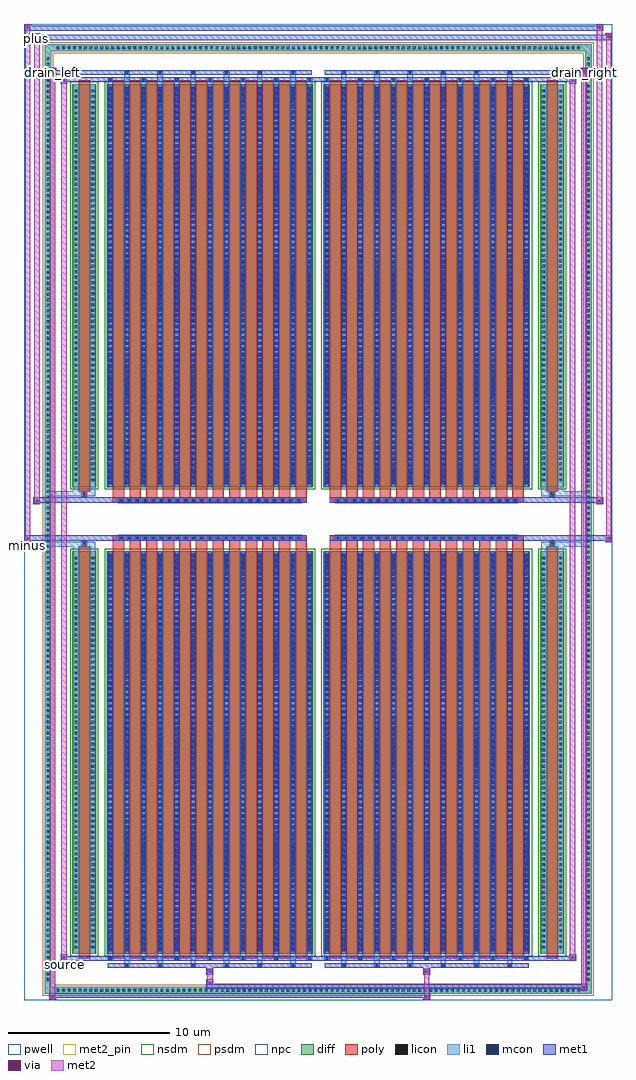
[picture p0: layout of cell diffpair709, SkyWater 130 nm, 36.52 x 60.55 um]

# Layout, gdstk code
import gdstk
lib = gdstk.Library(unit=1e-6, precision=5e-09)
def R(c, l, rs):  # rectangles x0, y0, x1, y1
    for r in rs: c.add(gdstk.rectangle(r[:2], r[2:], *l))
def A(c, l, x, y, w, h, nx, ny, dx, dy):  # array of equal rectangles
    R(c, l, [(x+i*dx, y+j*dy, x+i*dx+w, y+j*dy+h) for i in range(nx) for j in range(ny)])
def P(c, l, *ps):  # polygons
    for p in ps: c.add(gdstk.Polygon(p, *l))
pwell = (64, 44)
diff = (65, 20)
poly = (66, 20)
licon = (66, 44)
li1 = (67, 20)
mcon = (67, 44)
met1 = (68, 20)
via = (68, 44)
met2_pin = (69, 16)
met2 = (69, 20)
nsdm = (93, 44)
psdm = (94, 20)
npc = (95, 20)

diffpair709 = lib.new_cell('diffpair709')
R(diffpair709, pwell, [(-18.24,-29.84,18.24,30.71), (-15.56,-28.03,-0.01,-0.805), (0.01,-28.03,15.56,-0.805), (-15.56,0.805,-0.01,28.03), (0.01,0.805,15.56,28.03)])
A(diffpair709, diff, -16.355, -29.44, 0.41, 0.41, 96, 2, 0.34, 58.47)
A(diffpair709, diff, -16.97, -28.765, 0.41, 0.41, 1, 169, 0, 0.34)
A(diffpair709, diff, 16.56, -28.765, 0.41, 0.41, 1, 169, 0, 0.34)
R(diffpair709, diff, [(-16.355,-29.44,16.355,-29.03), (-16.97,-28.765,-16.56,28.765), (16.56,-28.765,16.97,28.765), (-15.25,-26.985,-13.77,-1.985), (-13.13,-26.985,-0.32,-1.985), (0.32,-26.985,13.13,-1.985), (13.77,-26.985,15.25,-1.985), (-15.25,1.985,-13.77,26.985), (-13.13,1.985,-0.32,26.985), (0.32,1.985,13.13,26.985), (13.77,1.985,15.25,26.985), (-16.355,29.03,16.355,29.44)])
P(diffpair709, diff, [(16.97,29.44),(-16.97,29.44),(-16.97,-29.03),(-16.56,-29.03),(-16.56,29.03),(16.56,29.03),(16.56,-29.03),(-16.56,-29.03),(-16.97,-29.03),(-16.97,-29.44),(16.97,-29.44)])
A(diffpair709, poly, -12.74, -27.235, 0.7, 25.5, 12, 2, 1.03, 28.97)
A(diffpair709, poly, 0.71, -27.235, 0.7, 25.5, 12, 2, 1.03, 28.97)
A(diffpair709, poly, -12.74, -1.735, 0.7, 0.4, 12, 2, 1.03, 3.07)
A(diffpair709, poly, 0.71, -1.735, 0.7, 0.4, 12, 2, 1.03, 3.07)
A(diffpair709, poly, -12.39, -1.335, 0.33, 0.33, 23, 2, 0.5, 2.34)
A(diffpair709, poly, 1.06, -1.335, 0.33, 0.33, 23, 2, 0.5, 2.34)
R(diffpair709, poly, [(-14.86,-27.235,-14.16,-1.735), (14.16,-27.235,14.86,-1.735), (-14.675,-1.735,-14.345,-1.405), (-14.675,-1.735,-14.345,-1.405), (14.345,-1.735,14.675,-1.405), (14.345,-1.735,14.675,-1.405), (-12.74,-1.335,-0.71,-1.005), (0.71,-1.335,12.74,-1.005), (-12.74,1.005,-0.71,1.335), (0.71,1.005,12.74,1.335), (-14.675,1.405,-14.345,1.735), (-14.675,1.405,-14.345,1.735), (14.345,1.405,14.675,1.735), (14.345,1.405,14.675,1.735), (-14.86,1.735,-14.16,27.235), (14.16,1.735,14.86,27.235)])
A(diffpair709, licon, -16.235, -29.32, 0.17, 0.17, 96, 2, 0.34, 58.47)
A(diffpair709, licon, -16.85, -28.645, 0.17, 0.17, 1, 169, 0, 0.34)
A(diffpair709, licon, 16.68, -28.645, 0.17, 0.17, 1, 169, 0, 0.34)
A(diffpair709, licon, -15.11, -26.64, 0.17, 0.17, 1, 72, 0, 0.34)
A(diffpair709, licon, -14.08, -26.64, 0.17, 0.17, 1, 72, 0, 0.34)
A(diffpair709, licon, -12.99, -26.64, 0.17, 0.17, 13, 72, 1.03, 0.34)
A(diffpair709, licon, 0.46, -26.64, 0.17, 0.17, 13, 72, 1.03, 0.34)
A(diffpair709, licon, 13.91, -26.64, 0.17, 0.17, 1, 72, 0, 0.34)
A(diffpair709, licon, 14.94, -26.64, 0.17, 0.17, 1, 72, 0, 0.34)
A(diffpair709, licon, -12.31, -1.255, 0.17, 0.17, 23, 2, 0.5, 2.34)
A(diffpair709, licon, 1.14, -1.255, 0.17, 0.17, 23, 2, 0.5, 2.34)
A(diffpair709, licon, -15.11, 2.33, 0.17, 0.17, 1, 72, 0, 0.34)
A(diffpair709, licon, -14.08, 2.33, 0.17, 0.17, 1, 72, 0, 0.34)
A(diffpair709, licon, -12.99, 2.33, 0.17, 0.17, 13, 72, 1.03, 0.34)
A(diffpair709, licon, 0.46, 2.33, 0.17, 0.17, 13, 72, 1.03, 0.34)
A(diffpair709, licon, 13.91, 2.33, 0.17, 0.17, 1, 72, 0, 0.34)
A(diffpair709, licon, 14.94, 2.33, 0.17, 0.17, 1, 72, 0, 0.34)
R(diffpair709, licon, [(-14.595,-1.655,-14.425,-1.485), (14.425,-1.655,14.595,-1.485), (-14.595,1.485,-14.425,1.655), (14.425,1.485,14.595,1.655)])
A(diffpair709, li1, -16.315, -29.4, 0.33, 0.33, 96, 2, 0.34, 58.47)
A(diffpair709, li1, -16.93, -28.725, 0.33, 0.33, 1, 169, 0, 0.34)
A(diffpair709, li1, 16.6, -28.725, 0.33, 0.33, 1, 169, 0, 0.34)
A(diffpair709, li1, -12.04, -27.79, 0.33, 0.805, 6, 2, 2.06, 54.775)
A(diffpair709, li1, -11.96, -27.79, 0.17, 0.17, 6, 2, 2.06, 55.41)
A(diffpair709, li1, 1.41, -27.79, 0.33, 0.805, 6, 2, 2.06, 54.775)
A(diffpair709, li1, 1.49, -27.79, 0.17, 0.17, 6, 2, 2.06, 55.41)
A(diffpair709, li1, -13.07, -27.36, 0.33, 0.375, 7, 2, 2.06, 54.345)
A(diffpair709, li1, -12.99, -27.36, 0.17, 0.17, 7, 2, 2.06, 54.55)
A(diffpair709, li1, 0.38, -27.36, 0.33, 0.375, 7, 2, 2.06, 54.345)
A(diffpair709, li1, 0.46, -27.36, 0.17, 0.17, 7, 2, 2.06, 54.55)
A(diffpair709, li1, -13.07, -26.985, 0.33, 25, 13, 2, 1.03, 28.97)
A(diffpair709, li1, 0.38, -26.985, 0.33, 25, 13, 2, 1.03, 28.97)
A(diffpair709, li1, -12.99, -26.81, 0.17, 0.17, 13, 69, 1.03, 0.36)
A(diffpair709, li1, -12.99, -26.81, 0.17, 24.65, 13, 2, 1.03, 28.97)
A(diffpair709, li1, 0.46, -26.81, 0.17, 0.17, 13, 69, 1.03, 0.36)
A(diffpair709, li1, 0.46, -26.81, 0.17, 24.65, 13, 2, 1.03, 28.97)
A(diffpair709, li1, -15.19, -26.72, 0.33, 0.33, 1, 72, 0, 0.34)
A(diffpair709, li1, -14.16, -26.72, 0.33, 0.33, 1, 72, 0, 0.34)
A(diffpair709, li1, -13.07, -26.72, 0.33, 0.33, 13, 72, 1.03, 0.34)
A(diffpair709, li1, 0.38, -26.72, 0.33, 0.33, 13, 72, 1.03, 0.34)
A(diffpair709, li1, 13.83, -26.72, 0.33, 0.33, 1, 72, 0, 0.34)
A(diffpair709, li1, 14.86, -26.72, 0.33, 0.33, 1, 72, 0, 0.34)
A(diffpair709, li1, -12.39, -1.335, 0.33, 0.33, 23, 2, 0.5, 2.34)
A(diffpair709, li1, 1.06, -1.335, 0.33, 0.33, 23, 2, 0.5, 2.34)
A(diffpair709, li1, -12.99, 2.16, 0.17, 0.17, 13, 69, 1.03, 0.36)
A(diffpair709, li1, 0.46, 2.16, 0.17, 0.17, 13, 69, 1.03, 0.36)
A(diffpair709, li1, -15.19, 2.25, 0.33, 0.33, 1, 72, 0, 0.34)
A(diffpair709, li1, -14.16, 2.25, 0.33, 0.33, 1, 72, 0, 0.34)
A(diffpair709, li1, -13.07, 2.25, 0.33, 0.33, 13, 72, 1.03, 0.34)
A(diffpair709, li1, 0.38, 2.25, 0.33, 0.33, 13, 72, 1.03, 0.34)
A(diffpair709, li1, 13.83, 2.25, 0.33, 0.33, 1, 72, 0, 0.34)
A(diffpair709, li1, 14.86, 2.25, 0.33, 0.33, 1, 72, 0, 0.34)
R(diffpair709, li1, [(-16.97,-29.44,-16.56,-29.03), (-16.97,-29.44,-16.56,-29.03), (-16.56,-29.44,16.56,-29.03), (16.56,-29.44,16.97,-29.03), (16.56,-29.44,16.97,-29.03), (-16.97,-29.03,-16.56,29.03), (16.56,-29.03,16.97,29.03), (-15.19,-26.985,-14.86,-1.985), (-14.16,-26.985,-13.83,-1.985), (13.83,-26.985,14.16,-1.985), (14.86,-26.985,15.19,-1.985), (-15.19,-1.985,-14.86,-1.405), (-14.16,-1.985,-13.83,-1.405), (13.83,-1.985,14.16,-1.405), (14.86,-1.985,15.19,-1.405), (-16.97,-1.735,-14.675,-1.405), (-15.19,-1.735,-14.675,-1.405), (-14.675,-1.735,-14.345,-1.405), (-14.345,-1.735,-13.83,-1.405), (13.83,-1.735,14.345,-1.405), (14.345,-1.735,14.675,-1.405), (14.345,-1.735,16.97,-1.405), (14.675,-1.735,15.19,-1.405), (-16.97,1.405,-14.675,1.735), (-15.19,1.405,-14.675,1.735), (-15.19,1.405,-14.86,1.985), (-14.675,1.405,-14.345,1.735), (-14.345,1.405,-13.83,1.735), (-14.16,1.405,-13.83,1.985), (13.83,1.405,14.345,1.735), (13.83,1.405,14.16,1.985), (14.345,1.405,14.675,1.735), (14.345,1.405,16.97,1.735), (14.675,1.405,15.19,1.735), (14.86,1.405,15.19,1.985), (-15.19,1.985,-14.86,26.985), (-14.16,1.985,-13.83,26.985), (13.83,1.985,14.16,26.985), (14.86,1.985,15.19,26.985), (-16.97,29.03,-16.56,29.44), (-16.97,29.03,-16.56,29.44), (-16.56,29.03,16.56,29.44), (16.56,29.03,16.97,29.44), (16.56,29.03,16.97,29.44)])
A(diffpair709, mcon, -11.96, -27.79, 0.17, 0.17, 6, 2, 2.06, 55.41)
A(diffpair709, mcon, 1.49, -27.79, 0.17, 0.17, 6, 2, 2.06, 55.41)
A(diffpair709, mcon, -12.99, -27.36, 0.17, 0.17, 7, 2, 2.06, 54.55)
A(diffpair709, mcon, 0.46, -27.36, 0.17, 0.17, 7, 2, 2.06, 54.55)
A(diffpair709, mcon, -12.99, -26.81, 0.17, 0.17, 13, 69, 1.03, 0.36)
A(diffpair709, mcon, 0.46, -26.81, 0.17, 0.17, 13, 69, 1.03, 0.36)
A(diffpair709, mcon, -12.31, -1.255, 0.17, 0.17, 23, 2, 0.5, 2.34)
A(diffpair709, mcon, 1.14, -1.255, 0.17, 0.17, 23, 2, 0.5, 2.34)
A(diffpair709, mcon, -12.99, 2.16, 0.17, 0.17, 13, 69, 1.03, 0.36)
A(diffpair709, mcon, 0.46, 2.16, 0.17, 0.17, 13, 69, 1.03, 0.36)
A(diffpair709, met1, -12.02, -27.85, 0.29, 0.29, 6, 2, 2.06, 55.41)
A(diffpair709, met1, 1.43, -27.85, 0.29, 0.29, 6, 2, 2.06, 55.41)
A(diffpair709, met1, -13.05, -27.42, 0.29, 0.29, 7, 2, 2.06, 54.55)
A(diffpair709, met1, 0.4, -27.42, 0.29, 0.29, 7, 2, 2.06, 54.55)
A(diffpair709, met1, -13.05, -26.985, 0.29, 25, 13, 2, 1.03, 28.97)
A(diffpair709, met1, 0.4, -26.985, 0.29, 25, 13, 2, 1.03, 28.97)
A(diffpair709, met1, -13.05, -26.87, 0.29, 0.29, 13, 69, 1.03, 0.36)
A(diffpair709, met1, 0.4, -26.87, 0.29, 0.29, 13, 69, 1.03, 0.36)
A(diffpair709, met1, -12.37, -1.315, 0.29, 0.29, 23, 2, 0.5, 2.34)
A(diffpair709, met1, 1.08, -1.315, 0.29, 0.29, 23, 2, 0.5, 2.34)
A(diffpair709, met1, -13.05, 2.1, 0.29, 0.29, 13, 69, 1.03, 0.36)
A(diffpair709, met1, 0.4, 2.1, 0.29, 0.29, 13, 69, 1.03, 0.36)
R(diffpair709, met1, [(-16.7,-29.84,-16.27,-29.41), (6.51,-29.84,6.94,-29.41), (-16.7,-29.7,6.94,-29.41), (16.27,-29.27,16.7,-28.84), (-6.94,-29.13,16.7,-28.84), (-6.94,-28.99,-6.51,-28.56), (-6.94,-28.28,-6.51,-27.85), (6.51,-28.28,6.94,-27.85), (-13.05,-27.85,-0.4,-27.56), (0.4,-27.85,13.05,-27.56), (-15.99,-27.42,-15.56,-26.99), (-15.99,-27.42,-13.05,-27.13), (-13.05,-27.42,-0.4,-27.13), (-0.4,-27.42,0.4,-27.13), (0.4,-27.42,13.05,-27.13), (13.05,-27.42,15.99,-27.13), (15.56,-27.42,15.99,-26.99), (-18.24,-1.435,-17.81,-1.005), (17.81,-1.435,18.24,-1.005), (-18.24,-1.335,-0.71,-1.005), (-12.74,-1.335,-0.71,-1.005), (0.71,-1.335,12.74,-1.005), (0.71,-1.335,18.24,-1.005), (-17.67,0.905,-17.24,1.335), (17.24,0.905,17.67,1.335), (-17.67,1.005,-12.74,1.335), (-12.74,1.005,-0.71,1.335), (0.71,1.005,12.74,1.335), (12.74,1.005,17.67,1.335), (-15.99,26.99,-15.56,27.42), (15.56,26.99,15.99,27.42), (-15.99,27.13,-13.05,27.42), (-13.05,27.13,-0.4,27.42), (-0.4,27.13,0.4,27.42), (0.4,27.13,13.05,27.42), (13.05,27.13,15.99,27.42), (-16.7,27.56,-16.27,27.99), (-16.7,27.56,-13.05,27.85), (-13.05,27.56,-0.4,27.85), (0.4,27.56,13.05,27.85), (13.05,27.56,16.7,27.85), (16.27,27.56,16.7,27.99), (-17.67,29.71,-17.24,30.14), (-17.67,29.71,-15.56,30.04), (-15.56,29.71,15.56,30.04), (15.56,29.71,18.24,30.04), (17.81,29.71,18.24,30.14), (-18.24,30.28,-17.81,30.71), (-18.24,30.28,-15.56,30.61), (-15.56,30.28,15.56,30.61), (15.56,30.28,17.67,30.61), (17.24,30.28,17.67,30.71)])
R(diffpair709, via, [(-16.56,-29.7,-16.41,-29.55), (6.65,-29.7,6.8,-29.55), (16.41,-29.13,16.56,-28.98), (-6.8,-28.85,-6.65,-28.7), (-6.8,-28.14,-6.65,-27.99), (6.65,-28.14,6.8,-27.99), (-15.85,-27.28,-15.7,-27.13), (15.7,-27.28,15.85,-27.13), (-18.1,-1.295,-17.95,-1.145), (17.95,-1.295,18.1,-1.145), (-17.53,1.045,-17.38,1.195), (17.38,1.045,17.53,1.195), (-15.85,27.13,-15.7,27.28), (15.7,27.13,15.85,27.28), (-16.56,27.7,-16.41,27.85), (16.41,27.7,16.56,27.85), (-17.53,29.85,-17.38,30), (17.95,29.85,18.1,30), (-18.1,30.42,-17.95,30.57), (17.38,30.42,17.53,30.57)])
R(diffpair709, met2_pin, [(-16.025,-27.87,-15.525,-27.37), (-18.275,-1.885,-17.775,-1.385), (-16.735,27.44,-16.235,27.94), (16.235,27.44,16.735,27.94), (-17.705,29.59,-17.205,30.09)])
R(diffpair709, met2, [(-16.65,-29.79,-16.32,-29.46), (-16.65,-29.79,-16.32,27.94), (6.56,-29.79,6.89,-29.46), (6.56,-29.46,6.89,-28.23), (16.32,-29.22,16.65,-28.89), (16.32,-29.22,16.65,27.94), (-6.89,-28.94,-6.56,-28.61), (-6.89,-28.61,-6.56,-28.23), (-6.89,-28.23,-6.56,-27.9), (6.56,-28.23,6.89,-27.9), (-15.94,-27.37,-15.61,-27.04), (-15.94,-27.37,-15.61,27.37), (15.61,-27.37,15.94,-27.04), (15.61,-27.37,15.94,27.37), (-18.19,-1.385,-17.86,-1.055), (-18.19,-1.385,-17.86,30.66), (17.86,-1.385,18.19,-1.055), (17.86,-1.385,18.19,30.09), (-17.62,0.955,-17.29,1.285), (-17.62,0.955,-17.29,30.09), (17.29,0.955,17.62,1.285), (17.29,0.955,17.62,30.66), (-15.94,27.04,-15.61,27.37), (15.61,27.04,15.94,27.37), (-16.65,27.61,-16.32,27.94), (16.32,27.61,16.65,27.94), (-17.62,29.76,-17.29,30.09), (17.86,29.76,18.19,30.09), (-18.19,30.33,-17.86,30.66), (17.29,30.33,17.62,30.66)])
P(diffpair709, met2, [(18.19,-1.385),(18.19,-1.385),(18.19,-1.055),(18.19,-1.055)],
  [(18.19,29.76),(18.19,29.76),(18.19,30.09),(18.19,30.09)],
  [(-17.86,-1.385),(-17.86,-1.385),(-17.86,-1.055),(-17.86,-1.055)],
  [(-17.86,30.33),(-17.86,30.33),(-17.86,30.66),(-17.86,30.66)],
  [(17.62,0.955),(17.62,0.955),(17.62,1.285),(17.62,1.285)],
  [(17.62,30.33),(17.62,30.33),(17.62,30.66),(17.62,30.66)],
  [(-17.29,0.955),(-17.29,0.955),(-17.29,1.285),(-17.29,1.285)],
  [(-17.29,29.76),(-17.29,29.76),(-17.29,30.09),(-17.29,30.09)],
  [(-16.32,-29.79),(-16.32,-29.79),(-16.32,-29.46),(-16.32,-29.46)],
  [(-16.32,27.61),(-16.32,27.61),(-16.32,27.94),(-16.32,27.94)],
  [(16.65,-29.22),(16.65,-29.22),(16.65,-28.89),(16.65,-28.89)],
  [(16.65,27.61),(16.65,27.61),(16.65,27.94),(16.65,27.94)],
  [(-15.61,-27.37),(-15.61,-27.37),(-15.61,-27.04),(-15.61,-27.04)],
  [(-15.61,27.04),(-15.61,27.04),(-15.61,27.37),(-15.61,27.37)],
  [(15.94,-27.37),(15.94,-27.37),(15.94,-27.04),(15.94,-27.04)],
  [(15.94,27.04),(15.94,27.04),(15.94,27.37),(15.94,27.37)])
R(diffpair709, nsdm, [(-15.38,-27.115,-13.64,-1.855), (-13.26,-27.115,-0.19,-1.855), (0.19,-27.115,13.26,-1.855), (13.64,-27.115,15.38,-1.855), (-15.38,1.855,-13.64,27.115), (-13.26,1.855,-0.19,27.115), (0.19,1.855,13.26,27.115), (13.64,1.855,15.38,27.115)])
P(diffpair709, psdm, [(17.1,29.57),(-17.1,29.57),(-17.1,-28.9),(-16.43,-28.9),(-16.43,28.9),(16.43,28.9),(16.43,-28.9),(-16.43,-28.9),(-17.1,-28.9),(-17.1,-29.57),(17.1,-29.57)])
A(diffpair709, npc, -12.41, -1.355, 0.37, 0.37, 23, 2, 0.5, 2.34)
A(diffpair709, npc, 1.04, -1.355, 0.37, 0.37, 23, 2, 0.5, 2.34)
R(diffpair709, npc, [(-14.695,-1.755,-14.325,-1.385), (14.325,-1.755,14.695,-1.385), (-12.41,-1.355,-11.54,-0.985), (-12.41,-1.355,-11.54,-0.985), (-11.91,-1.355,-11.04,-0.985), (-11.91,-1.355,-11.04,-0.985), (-11.41,-1.355,-10.54,-0.985), (-11.41,-1.355,-10.54,-0.985), (-10.91,-1.355,-10.04,-0.985), (-10.91,-1.355,-10.04,-0.985), (-10.41,-1.355,-9.54,-0.985), (-10.41,-1.355,-9.54,-0.985), (-9.91,-1.355,-9.04,-0.985), (-9.91,-1.355,-9.04,-0.985), (-9.41,-1.355,-8.54,-0.985), (-9.41,-1.355,-8.54,-0.985), (-8.91,-1.355,-8.04,-0.985), (-8.91,-1.355,-8.04,-0.985), (-8.41,-1.355,-7.54,-0.985), (-8.41,-1.355,-7.54,-0.985), (-7.91,-1.355,-7.04,-0.985), (-7.91,-1.355,-7.04,-0.985), (-7.41,-1.355,-6.54,-0.985), (-7.41,-1.355,-6.54,-0.985), (-6.91,-1.355,-6.04,-0.985), (-6.91,-1.355,-6.04,-0.985), (-6.41,-1.355,-5.54,-0.985), (-6.41,-1.355,-5.54,-0.985), (-5.91,-1.355,-5.04,-0.985), (-5.91,-1.355,-5.04,-0.985), (-5.41,-1.355,-4.54,-0.985), (-5.41,-1.355,-4.54,-0.985), (-4.91,-1.355,-4.04,-0.985), (-4.91,-1.355,-4.04,-0.985), (-4.41,-1.355,-3.54,-0.985), (-4.41,-1.355,-3.54,-0.985), (-3.91,-1.355,-3.04,-0.985), (-3.91,-1.355,-3.04,-0.985), (-3.41,-1.355,-2.54,-0.985), (-3.41,-1.355,-2.54,-0.985), (-2.91,-1.355,-2.04,-0.985), (-2.91,-1.355,-2.04,-0.985), (-2.41,-1.355,-1.54,-0.985), (-2.41,-1.355,-1.54,-0.985), (-1.91,-1.355,-1.04,-0.985), (-1.91,-1.355,-1.04,-0.985), (1.04,-1.355,1.91,-0.985), (1.04,-1.355,1.91,-0.985), (1.54,-1.355,2.41,-0.985), (1.54,-1.355,2.41,-0.985), (2.04,-1.355,2.91,-0.985), (2.04,-1.355,2.91,-0.985), (2.54,-1.355,3.41,-0.985), (2.54,-1.355,3.41,-0.985), (3.04,-1.355,3.91,-0.985), (3.04,-1.355,3.91,-0.985), (3.54,-1.355,4.41,-0.985), (3.54,-1.355,4.41,-0.985), (4.04,-1.355,4.91,-0.985), (4.04,-1.355,4.91,-0.985), (4.54,-1.355,5.41,-0.985), (4.54,-1.355,5.41,-0.985), (5.04,-1.355,5.91,-0.985), (5.04,-1.355,5.91,-0.985), (5.54,-1.355,6.41,-0.985), (5.54,-1.355,6.41,-0.985), (6.04,-1.355,6.91,-0.985), (6.04,-1.355,6.91,-0.985), (6.54,-1.355,7.41,-0.985), (6.54,-1.355,7.41,-0.985), (7.04,-1.355,7.91,-0.985), (7.04,-1.355,7.91,-0.985), (7.54,-1.355,8.41,-0.985), (7.54,-1.355,8.41,-0.985), (8.04,-1.355,8.91,-0.985), (8.04,-1.355,8.91,-0.985), (8.54,-1.355,9.41,-0.985), (8.54,-1.355,9.41,-0.985), (9.04,-1.355,9.91,-0.985), (9.04,-1.355,9.91,-0.985), (9.54,-1.355,10.41,-0.985), (9.54,-1.355,10.41,-0.985), (10.04,-1.355,10.91,-0.985), (10.04,-1.355,10.91,-0.985), (10.54,-1.355,11.41,-0.985), (10.54,-1.355,11.41,-0.985), (11.04,-1.355,11.91,-0.985), (11.04,-1.355,11.91,-0.985), (11.54,-1.355,12.41,-0.985), (11.54,-1.355,12.41,-0.985), (-12.41,0.985,-11.54,1.355), (-12.41,0.985,-11.54,1.355), (-11.91,0.985,-11.04,1.355), (-11.91,0.985,-11.04,1.355), (-11.41,0.985,-10.54,1.355), (-11.41,0.985,-10.54,1.355), (-10.91,0.985,-10.04,1.355), (-10.91,0.985,-10.04,1.355), (-10.41,0.985,-9.54,1.355), (-10.41,0.985,-9.54,1.355), (-9.91,0.985,-9.04,1.355), (-9.91,0.985,-9.04,1.355), (-9.41,0.985,-8.54,1.355), (-9.41,0.985,-8.54,1.355), (-8.91,0.985,-8.04,1.355), (-8.91,0.985,-8.04,1.355), (-8.41,0.985,-7.54,1.355), (-8.41,0.985,-7.54,1.355), (-7.91,0.985,-7.04,1.355), (-7.91,0.985,-7.04,1.355), (-7.41,0.985,-6.54,1.355), (-7.41,0.985,-6.54,1.355), (-6.91,0.985,-6.04,1.355), (-6.91,0.985,-6.04,1.355), (-6.41,0.985,-5.54,1.355), (-6.41,0.985,-5.54,1.355), (-5.91,0.985,-5.04,1.355), (-5.91,0.985,-5.04,1.355), (-5.41,0.985,-4.54,1.355), (-5.41,0.985,-4.54,1.355), (-4.91,0.985,-4.04,1.355), (-4.91,0.985,-4.04,1.355), (-4.41,0.985,-3.54,1.355), (-4.41,0.985,-3.54,1.355), (-3.91,0.985,-3.04,1.355), (-3.91,0.985,-3.04,1.355), (-3.41,0.985,-2.54,1.355), (-3.41,0.985,-2.54,1.355), (-2.91,0.985,-2.04,1.355), (-2.91,0.985,-2.04,1.355), (-2.41,0.985,-1.54,1.355), (-2.41,0.985,-1.54,1.355), (-1.91,0.985,-1.04,1.355), (-1.91,0.985,-1.04,1.355), (1.04,0.985,1.91,1.355), (1.04,0.985,1.91,1.355), (1.54,0.985,2.41,1.355), (1.54,0.985,2.41,1.355), (2.04,0.985,2.91,1.355), (2.04,0.985,2.91,1.355), (2.54,0.985,3.41,1.355), (2.54,0.985,3.41,1.355), (3.04,0.985,3.91,1.355), (3.04,0.985,3.91,1.355), (3.54,0.985,4.41,1.355), (3.54,0.985,4.41,1.355), (4.04,0.985,4.91,1.355), (4.04,0.985,4.91,1.355), (4.54,0.985,5.41,1.355), (4.54,0.985,5.41,1.355), (5.04,0.985,5.91,1.355), (5.04,0.985,5.91,1.355), (5.54,0.985,6.41,1.355), (5.54,0.985,6.41,1.355), (6.04,0.985,6.91,1.355), (6.04,0.985,6.91,1.355), (6.54,0.985,7.41,1.355), (6.54,0.985,7.41,1.355), (7.04,0.985,7.91,1.355), (7.04,0.985,7.91,1.355), (7.54,0.985,8.41,1.355), (7.54,0.985,8.41,1.355), (8.04,0.985,8.91,1.355), (8.04,0.985,8.91,1.355), (8.54,0.985,9.41,1.355), (8.54,0.985,9.41,1.355), (9.04,0.985,9.91,1.355), (9.04,0.985,9.91,1.355), (9.54,0.985,10.41,1.355), (9.54,0.985,10.41,1.355), (10.04,0.985,10.91,1.355), (10.04,0.985,10.91,1.355), (10.54,0.985,11.41,1.355), (10.54,0.985,11.41,1.355), (11.04,0.985,11.91,1.355), (11.04,0.985,11.91,1.355), (11.54,0.985,12.41,1.355), (11.54,0.985,12.41,1.355), (-14.695,1.385,-14.325,1.755), (14.325,1.385,14.695,1.755)])
diffpair709.add(gdstk.Label('minus', (-18.025,-1.635), layer=69, texttype=5))
diffpair709.add(gdstk.Label('drain_right', (16.485,27.69), layer=69, texttype=5))
diffpair709.add(gdstk.Label('drain_left', (-16.485,27.69), layer=69, texttype=5))
diffpair709.add(gdstk.Label('source', (-15.775,-27.62), layer=69, texttype=5))
diffpair709.add(gdstk.Label('plus', (-17.455,29.84), layer=69, texttype=5))

lib.write_gds('diffpair709.gds')
